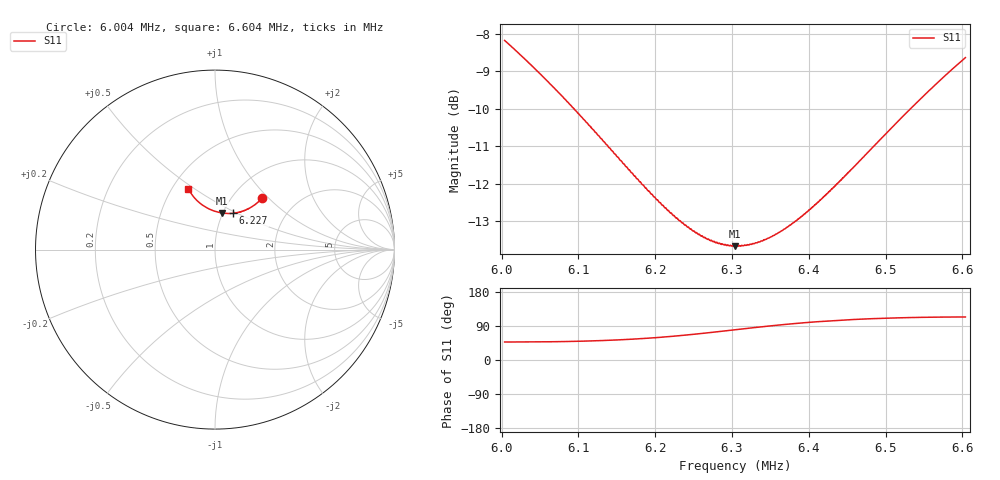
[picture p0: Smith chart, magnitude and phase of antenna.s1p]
! Calibrated high-resolution NanoVNA antenna measurement
# Hz S RI R 50
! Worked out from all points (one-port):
!   1601 points, 6.004 MHz to 6.604 MHz, reference 50 ohm
!   lowest |S11| = -13.7 dB at 6.304 MHz (marker M1), VSWR 1.52, Z = 49.3 + j21.1 ohm
!   |S11| at or under -10 dB: 6.095 MHz to 6.532 MHz (437.5 kHz wide, 6.93 % of centre)
!   S11 on the Smith chart (normalised r, x): 6.004 MHz: 1.36, +0.92; 6.227 MHz: 1.12, +0.48; 6.604 MHz: 0.60, +0.47
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6004000  0.2635 0.2879
6009250  0.2605 0.2848
6035875  0.2452 0.269
6079000  0.2171 0.247
6119500  0.1882 0.2294
6154000  0.1617 0.2169
6173875  0.1458 0.212
6196000  0.1276 0.2072
6214000  0.1126 0.2044
6227125  0.1015 0.2022
6229000  0.1 0.2024
6250375  0.0819 0.2015
6269125  0.066 0.2014
6287500  0.0507 0.2028
6304000  0.0368 0.2042
6304375  0.0365 0.2043
6320125  0.024 0.2071
6338125  0.00959 0.2107
6356875  -0.00521 0.2152
6379000  -0.0219 0.2216
6393250  -0.0323 0.2263
6410875  -0.0449 0.2327
6454000  -0.0739 0.251
6490750  -0.0962 0.2697
6529000  -0.1167 0.2914
6569125  -0.135 0.3162
6595000  -0.145 0.3332
6604000  -0.148 0.3394
